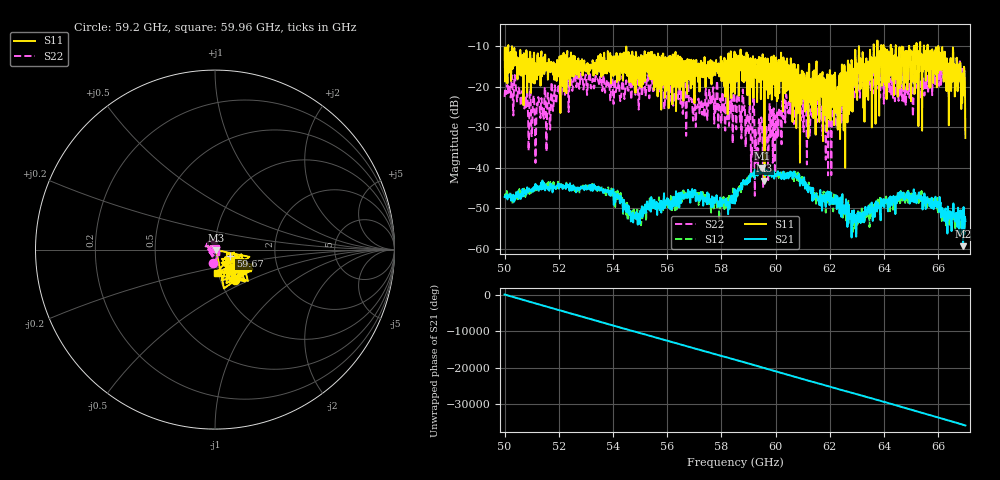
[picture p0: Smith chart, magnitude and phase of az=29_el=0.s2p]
!Created with skrf (http://scikit-rf.org).
# GHz S RI R 50.0
!freq ReS11 ImS11 ReS21 ImS21 ReS12 ImS12 ReS22 ImS22
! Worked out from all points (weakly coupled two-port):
!   1001 points, 50 GHz to 67 GHz, reference 50 ohm
!   highest |S21| = -40.03 dB at 59.5 GHz (marker M1); lowest = -59.3 dB at 66.92 GHz (marker M2)
!   lowest |S11| = -43.2 dB at 59.59 GHz (marker M3), VSWR 1.01, Z = 50.6 - j0.292 ohm
!   |S11| at or under -10 dB: 50.27 GHz to 63.07 GHz (12.8 GHz wide, 22.6 % of centre); 63.07 GHz to 63.62 GHz (542.1 MHz wide, 0.856 % of centre); 66 GHz to end of sweep (the widest 3 of 17)
!   |S22| runs from -46.9 to -13.7 dB; largest |S21 - S12| = 0.0021
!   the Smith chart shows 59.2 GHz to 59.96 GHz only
!   S11 on the Smith chart (normalised r, x): 59.2 GHz: 1.17, -0.42; 59.67 GHz: 1.19, -0.08; 59.96 GHz: 0.99, -0.26
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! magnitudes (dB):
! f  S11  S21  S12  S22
! 50 GHz  -10.3  -47.1  -46.9  -22.5
! 50.44 GHz  -12.6  -46.1  -46.9  -22.5
! 51.07 GHz  -12.4  -44.8  -44.9  -22.1
! 52.84 GHz  -14.3  -44.7  -44.5  -18.0
! 55 GHz  -13.9  -51.2  -51.8  -17.6
! 55.68 GHz  -13.7  -49.9  -48.9  -21.2
! 58.5 GHz  -21.7  -48.8  -46.5  -24.2
! 59.2 GHz  -13.8  -41.6  -40.6  -22.4
! 59.5 GHz  -18.2  -40.0  -40.8  -31.0
! 59.59 GHz  -43.2  -40.8  -40.8  -31.1
! 59.67 GHz  -20.7  -41.3  -41.7  -32.3
! 59.84 GHz  -12.5  -41.5  -41.5  -25.2
! 59.96 GHz  -17.8  -41.4  -41.4  -41.3
! 60.64 GHz  -14.4  -41.2  -41.5  -21.8
! 61.34 GHz  -26.0  -46.1  -45.9  -24.5
! 62 GHz  -15.8  -48.8  -46.1  -23.9
! 62.56 GHz  -40.0  -50.4  -50.2  -19.7
! 62.89 GHz  -17.2  -50.4  -53.6  -21.5
! 64.18 GHz  -18.8  -47.4  -48.1  -17.9
! 66.08 GHz  -15.6  -48.5  -49.1  -15.3
! 66.92 GHz  -20.0  -59.3  -53.0  -15.1
! 67 GHz  -32.6  -53.1  -51.4  -16.2
